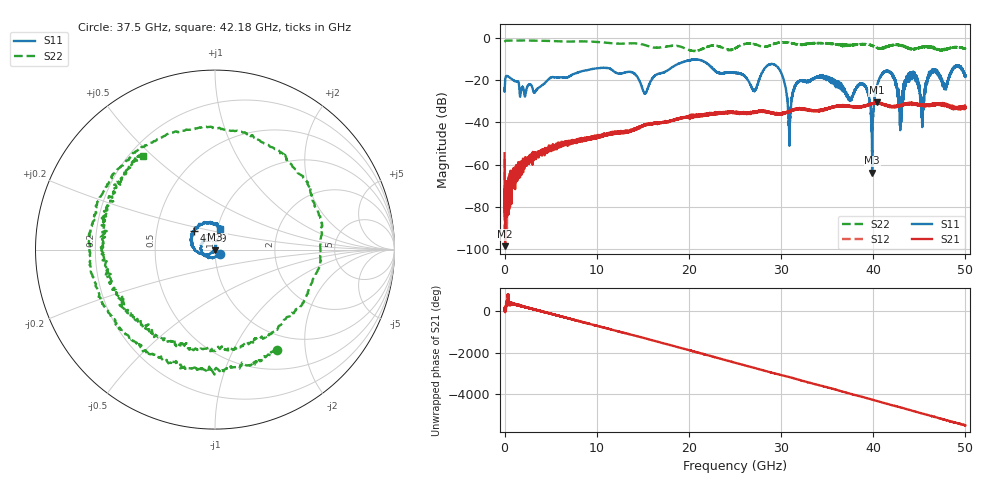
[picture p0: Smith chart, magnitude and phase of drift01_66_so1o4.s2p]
!Created with skrf (http://scikit-rf.org).
# Hz S RI R 50.0
!freq ReS11 ImS11 ReS21 ImS21 ReS12 ImS12 ReS22 ImS22
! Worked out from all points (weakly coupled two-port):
!   10001 points, 300 kHz to 50 GHz, reference 50 ohm
!   highest |S21| = -30.57 dB at 40.4 GHz (marker M1); lowest = -98.4 dB at 60.3 MHz (marker M2)
!   lowest |S11| = -63.8 dB at 39.88 GHz (marker M3), VSWR 1.00, Z = 50 + j0.0519 ohm
!   |S11| at or under -10 dB: start of sweep to end of sweep
!   |S22| runs from -6.4 to -1.4 dB; largest |S21 - S12| = 0.0039
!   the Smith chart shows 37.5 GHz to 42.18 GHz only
!   S11 on the Smith chart (normalised r, x): 37.5 GHz: 1.06, -0.05; 41.29 GHz: 0.78, +0.17; 42.18 GHz: 1.03, +0.25
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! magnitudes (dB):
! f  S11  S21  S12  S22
! 300 kHz  -23.8  -54.6  -57.5  -2.1
! 60.3 MHz  -20.0  -98.4  -76.6  -1.6
! 8.335 GHz  -15.9  -48.3  -48.3  -1.8
! 16.67 GHz  -17.1  -40.4  -40.5  -4.8
! 25 GHz  -16.6  -35.2  -35.2  -5.1
! 27.09 GHz  -25.1  -35.1  -35.2  -3.1
! 29.44 GHz  -13.2  -35.8  -35.9  -2.7
! 30.91 GHz  -51.1  -34.9  -34.9  -2.5
! 31.68 GHz  -21.8  -33.6  -33.8  -3.2
! 33.34 GHz  -19.9  -34.5  -34.4  -2.7
! 37.5 GHz  -29.0  -32.5  -32.5  -3.6
! 39 GHz  -22.2  -32.6  -32.5  -3.1
! 39.88 GHz  -63.8  -31.1  -31.1  -3.7
! 40.4 GHz  -23.2  -30.6  -30.9  -4.9
! 41.29 GHz  -16.1  -31.9  -31.9  -4.5
! 41.67 GHz  -15.9  -32.3  -32.4  -4.1
! 42.18 GHz  -18.4  -32.5  -32.6  -3.7
! 42.99 GHz  -33.2  -32.2  -32.0  -3.6
! 44.03 GHz  -17.7  -31.2  -31.3  -5.3
! 45.31 GHz  -36.7  -31.8  -32.0  -4.4
! 46.42 GHz  -15.8  -32.2  -31.8  -4.8
! 50 GHz  -17.8  -33.3  -33.4  -5.3
